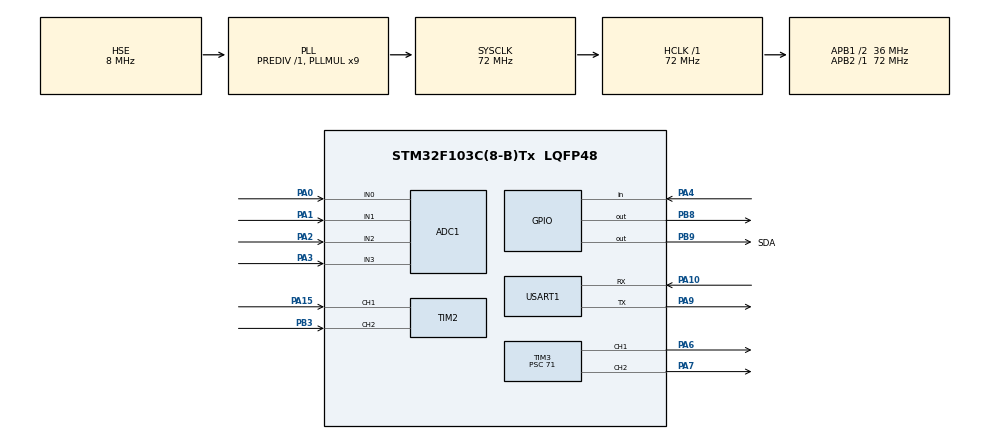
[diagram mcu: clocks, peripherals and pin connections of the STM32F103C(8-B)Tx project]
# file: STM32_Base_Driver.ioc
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ADC1.Channel-0\#ChannelRegularConversion=ADC_CHANNEL_0
ADC1.NbrOfConversion=1
ADC1.NbrOfConversionFlag=1
ADC1.Rank-0\#ChannelRegularConversion=1
ADC1.SamplingTime-0\#ChannelRegularConversion=ADC_SAMPLETIME_55CYCLES_5
ADC1.master=1
Mcu.Family=STM32F1
Mcu.Name=STM32F103C(8-B)Tx
Mcu.Package=LQFP48
NVIC.PriorityGroup=NVIC_PRIORITYGROUP_4
NVIC.TIM4_IRQn=true\:0\:0\:false\:false\:true\:true\:true\:true
NVIC.USART1_IRQn=true\:0\:0\:false\:false\:true\:true\:true\:true
PA0-WKUP.Signal=ADCx_IN0
PA1.Signal=ADCx_IN1
PA10.Mode=Asynchronous
PA10.Signal=USART1_RX
PA13.Mode=Serial_Wire
PA13.Signal=SYS_JTMS-SWDIO
PA14.Mode=Serial_Wire
PA14.Signal=SYS_JTCK-SWCLK
PA15.Signal=S_TIM2_CH1_ETR
PA2.Signal=ADCx_IN2
PA3.Signal=ADCx_IN3
PA4.GPIO_PuPd=GPIO_PULLUP
PA4.Signal=GPIO_Input
PA6.Signal=S_TIM3_CH1
PA7.Signal=S_TIM3_CH2
PA9.Mode=Asynchronous
PA9.Signal=USART1_TX
PB3.Signal=S_TIM2_CH2
PB8.Signal=GPIO_Output
PB9.GPIO_Label=SDA
PB9.Signal=GPIO_Output
PC14-OSC32_IN.Mode=LSE-External-Oscillator
PC14-OSC32_IN.Signal=RCC_OSC32_IN
PC15-OSC32_OUT.Mode=LSE-External-Oscillator
PC15-OSC32_OUT.Signal=RCC_OSC32_OUT
PD0-OSC_IN.Mode=HSE-External-Oscillator
PD0-OSC_IN.Signal=RCC_OSC_IN
PD1-OSC_OUT.Mode=HSE-External-Oscillator
PD1-OSC_OUT.Signal=RCC_OSC_OUT
ProjectManager.HeapSize=0x200
ProjectManager.StackSize=0x400
ProjectManager.TargetToolchain=MDK-ARM V5.32
RCC.ADCPresc=RCC_ADCPCLK2_DIV6
RCC.AHBFreq_Value=72000000
RCC.APB1CLKDivider=RCC_HCLK_DIV2
RCC.APB1Freq_Value=36000000
RCC.APB1TimFreq_Value=72000000
RCC.APB2Freq_Value=72000000
RCC.APB2TimFreq_Value=72000000
RCC.HCLKFreq_Value=72000000
RCC.PLLMUL=RCC_PLL_MUL9
RCC.PLLSourceVirtual=RCC_PLLSOURCE_HSE
RCC.SYSCLKFreq_VALUE=72000000
RCC.SYSCLKSource=RCC_SYSCLKSOURCE_PLLCLK
RCC.USBFreq_Value=72000000
SH.ADCx_IN0.0=ADC1_IN0,IN0
SH.ADCx_IN1.0=ADC1_IN1,IN1
SH.ADCx_IN2.0=ADC1_IN2,IN2
SH.ADCx_IN3.0=ADC1_IN3,IN3
SH.S_TIM2_CH1_ETR.0=TIM2_CH1,Encoder_Interface
SH.S_TIM2_CH2.0=TIM2_CH2,Encoder_Interface
SH.S_TIM3_CH1.0=TIM3_CH1,PWM Generation1 CH1
SH.S_TIM3_CH2.0=TIM3_CH2,PWM Generation2 CH2
TIM3.Channel-PWM\ Generation1\ CH1=TIM_CHANNEL_1
TIM3.Channel-PWM\ Generation2\ CH2=TIM_CHANNEL_2
TIM3.Prescaler=71
TIM4.AutoReloadPreload=TIM_AUTORELOAD_PRELOAD_ENABLE
TIM4.Period=4999
TIM4.Prescaler=71
USART1.VirtualMode=VM_ASYNC
VP_TIM3_VS_ClockSourceINT.Mode=Internal
VP_TIM4_VS_ClockSourceINT.Mode=Internal
board=custom

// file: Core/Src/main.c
/* USER CODE BEGIN Header */
/**
  ******************************************************************************
  * @file           : main.c
  * @brief          : Main program body
  ******************************************************************************
  * @attention
  *
  * Copyright (c) 2026 STMicroelectronics.
  * All rights reserved.
  *
  * This software is licensed under terms that can be found in the LICENSE file
  * in the root directory of this software component.
  * If no LICENSE file comes with this software, it is provided AS-IS.
  *
  ******************************************************************************
  */
/* USER CODE END Header */
#include "main.h"
#include "adc.h"
#include "tim.h"
#include "usart.h"
#include "gpio.h"

/* USER CODE BEGIN Includes */
#include "USART_Driver.h"
#include "OLED.h"
#include "ADC_Driver.h"
#include "JoyStick.h"
#include "Display_Page.h"
/* USER CODE END Includes */

/* USER CODE BEGIN PTD */
UART_RxHandleTypeDef uart1_rx_handle;
/* USER CODE END PTD */

void SystemClock_Config(void);

int main(void)
{

  /* MCU Configuration--------------------------------------------------------*/

  /* Reset of all peripherals, Initializes the Flash interface and the Systick. */
  HAL_Init();

  /* Configure the system clock */
  SystemClock_Config();

  /* Initialize all configured peripherals */
  MX_GPIO_Init();
  MX_USART1_UART_Init();
  MX_TIM2_Init();
  MX_TIM3_Init();
  MX_TIM4_Init();
  MX_ADC1_Init();
  /* USER CODE BEGIN 2 */
  /*=== 定时器初始化，这里是示例使用 ===*/
  // UART_StartRxIT(&uart1_rx_handle, &huart1); // 开启串口接收中断

  /*=== 定时器初始化，这里是示例使用 ===*/
  // TIM4_Base_StartIT(); // 开启定时器4中断
  // TIM3_PWM_StartAll(); // 开启定时器3的PWM输出
  // TIM2_Encoder_Start(); // 开启定时器2的编码器模式

  /*=== ADC初始化 ===*/
  ADC_Init();

  /*=== OLED测试代码 ===*/
  OLED_Init();

  Display_Init();
  /* USER CODE END 2 */

  /* Infinite loop */
  /* USER CODE BEGIN WHILE */
  while (1)
  {
KeyEvent_t evt = Joystick_Scan();
    Display_ProcessEvent(evt);

    if(Sys_Mode == SYS_MENU_LIST)
    {
        RenderMenuList();
    }
    else if(Sys_Mode == SYS_VIEW_DETAIL)
    {
        RenderDetailPage();
    }

    /* USER CODE END WHILE */

  }
}

void SystemClock_Config(void)
{
  RCC_OscInitTypeDef RCC_OscInitStruct = {0};
  RCC_ClkInitTypeDef RCC_ClkInitStruct = {0};
  RCC_PeriphCLKInitTypeDef PeriphClkInit = {0};

  /** Initializes the RCC Oscillators according to the specified parameters
  * in the RCC_OscInitTypeDef structure.
  */
  RCC_OscInitStruct.OscillatorType = RCC_OSCILLATORTYPE_HSE;
  RCC_OscInitStruct.HSEState = RCC_HSE_ON;
  RCC_OscInitStruct.HSEPredivValue = RCC_HSE_PREDIV_DIV1;
  RCC_OscInitStruct.HSIState = RCC_HSI_ON;
  RCC_OscInitStruct.PLL.PLLState = RCC_PLL_ON;
  RCC_OscInitStruct.PLL.PLLSource = RCC_PLLSOURCE_HSE;
  RCC_OscInitStruct.PLL.PLLMUL = RCC_PLL_MUL9;
  if (HAL_RCC_OscConfig(&RCC_OscInitStruct) != HAL_OK)
  {
    Error_Handler();
  }

  /** Initializes the CPU, AHB and APB buses clocks
  */
  RCC_ClkInitStruct.ClockType = RCC_CLOCKTYPE_HCLK|RCC_CLOCKTYPE_SYSCLK
                              |RCC_CLOCKTYPE_PCLK1|RCC_CLOCKTYPE_PCLK2;
  RCC_ClkInitStruct.SYSCLKSource = RCC_SYSCLKSOURCE_PLLCLK;
  RCC_ClkInitStruct.AHBCLKDivider = RCC_SYSCLK_DIV1;
  RCC_ClkInitStruct.APB1CLKDivider = RCC_HCLK_DIV2;
  RCC_ClkInitStruct.APB2CLKDivider = RCC_HCLK_DIV1;

  if (HAL_RCC_ClockConfig(&RCC_ClkInitStruct, FLASH_LATENCY_2) != HAL_OK)
  {
    Error_Handler();
  }
  PeriphClkInit.PeriphClockSelection = RCC_PERIPHCLK_ADC;
  PeriphClkInit.AdcClockSelection = RCC_ADCPCLK2_DIV6;
  if (HAL_RCCEx_PeriphCLKConfig(&PeriphClkInit) != HAL_OK)
  {
    Error_Handler();
  }
}

void Error_Handler(void)
{
  __disable_irq();
  while (1)
  {
  }
}
